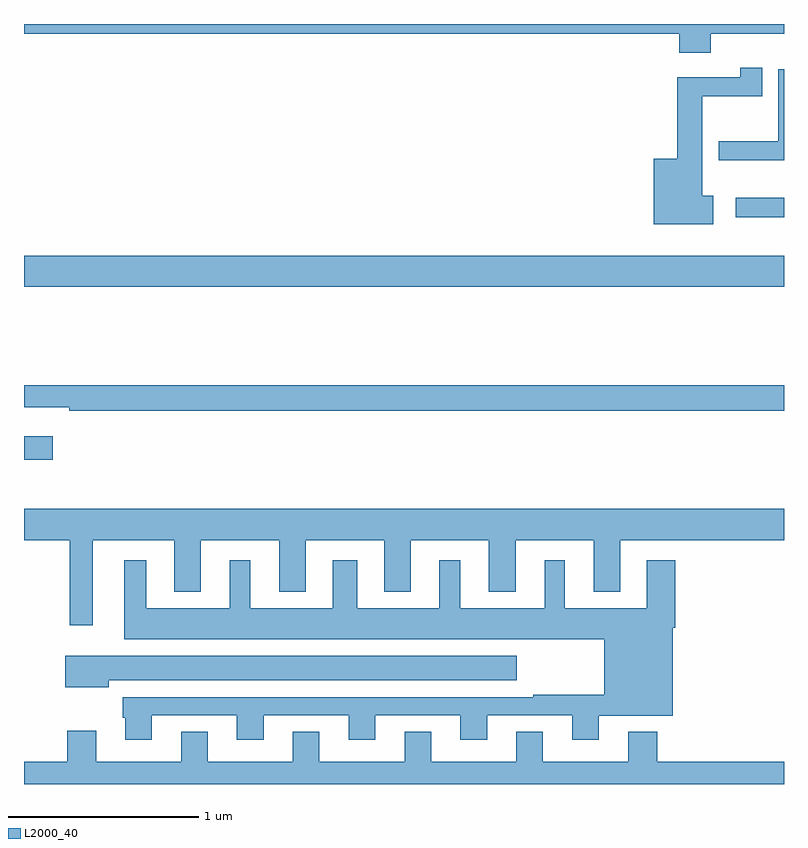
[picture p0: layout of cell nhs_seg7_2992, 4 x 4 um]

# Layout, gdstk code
import gdstk
lib = gdstk.Library(unit=1e-6, precision=1e-09)
def R(c, l, rs):  # rectangles x0, y0, x1, y1
    for r in rs: c.add(gdstk.rectangle(r[:2], r[2:], *l))
def P(c, l, *ps):  # polygons
    for p in ps: c.add(gdstk.Polygon(p, *l))
L2000_40 = (2000, 40)

nhs_seg7_2992 = lib.new_cell('nhs_seg7_2992')
R(nhs_seg7_2992, L2000_40, [(303,999.707,303.151,999.829), (303,1000.616,307,1000.78), (306.747,1000.982,307,1001.086)])
P(nhs_seg7_2992, L2000_40, [(306.614,1001.948),(307,1001.948),(307,1002),(303,1002),(303,1001.948),(306.449,1001.948),(306.449,1001.849),(306.614,1001.849)],
  [(306.628,1001.096),(306.571,1001.096),(306.571,1001.62),(306.886,1001.62),(306.886,1001.77),(306.769,1001.77),(306.769,1001.719),(306.437,1001.719),(306.437,1001.29),(306.314,1001.29),(306.314,1000.946),(306.628,1000.946)],
  [(307,1001.762),(306.971,1001.762),(306.971,1001.382),(306.656,1001.382),(306.656,1001.282),(307,1001.282)],
  [(307,1000.1),(303,1000.1),(303,999.983),(303.238,999.983),(303.238,999.964),(307,999.964)],
  [(303.361,999.284),(303.791,999.284),(303.791,999.011),(303.931,999.011),(303.931,999.284),(304.343,999.284),(304.343,999.011),(304.483,999.011),(304.483,999.284),(304.895,999.284),(304.895,999.011),(305.035,999.011),(305.035,999.284),(305.447,999.284),(305.447,999.011),(305.587,999.011),(305.587,999.284),(305.999,999.284),(305.999,999.011),(306.139,999.011),(306.139,999.284),(307,999.284),(307,999.448),(303,999.448),(303,999.284),(303.24,999.284),(303.24,998.835),(303.361,998.835)],
  [(303.673,998.361),(304.121,998.361),(304.121,998.232),(304.261,998.232),(304.261,998.361),(304.709,998.361),(304.709,998.232),(304.849,998.232),(304.849,998.361),(305.297,998.361),(305.297,998.232),(305.437,998.232),(305.437,998.361),(305.885,998.361),(305.885,998.232),(306.025,998.232),(306.025,998.36),(306.415,998.36),(306.415,998.822),(306.428,998.822),(306.428,999.178),(306.278,999.178),(306.278,998.926),(305.845,998.926),(305.845,999.178),(305.741,999.178),(305.741,998.926),(305.296,998.926),(305.296,999.178),(305.186,999.178),(305.186,998.926),(304.753,998.926),(304.753,999.178),(304.625,999.178),(304.625,998.926),(304.192,998.926),(304.192,999.178),(304.082,999.178),(304.082,998.926),(303.643,998.926),(303.643,999.178),(303.527,999.178),(303.527,998.762),(306.053,998.762),(306.053,998.47),(305.68,998.47),(305.68,998.457),(303.521,998.457),(303.521,998.349),(303.533,998.349),(303.533,998.232),(303.673,998.232)],
  [(303.445,998.546),(305.593,998.546),(305.593,998.674),(303.216,998.674),(303.216,998.51),(303.445,998.51)],
  [(307,998.116),(306.332,998.116),(306.332,998.275),(306.179,998.275),(306.179,998.116),(305.731,998.116),(305.731,998.276),(305.591,998.276),(305.591,998.116),(305.143,998.116),(305.143,998.276),(305.003,998.276),(305.003,998.116),(304.555,998.116),(304.555,998.276),(304.415,998.276),(304.415,998.116),(303.967,998.116),(303.967,998.276),(303.827,998.276),(303.827,998.116),(303.379,998.116),(303.379,998.281),(303.227,998.281),(303.227,998.116),(303,998.116),(303,998),(307,998)])

lib.write_gds('nhs_seg7_2992.gds')
